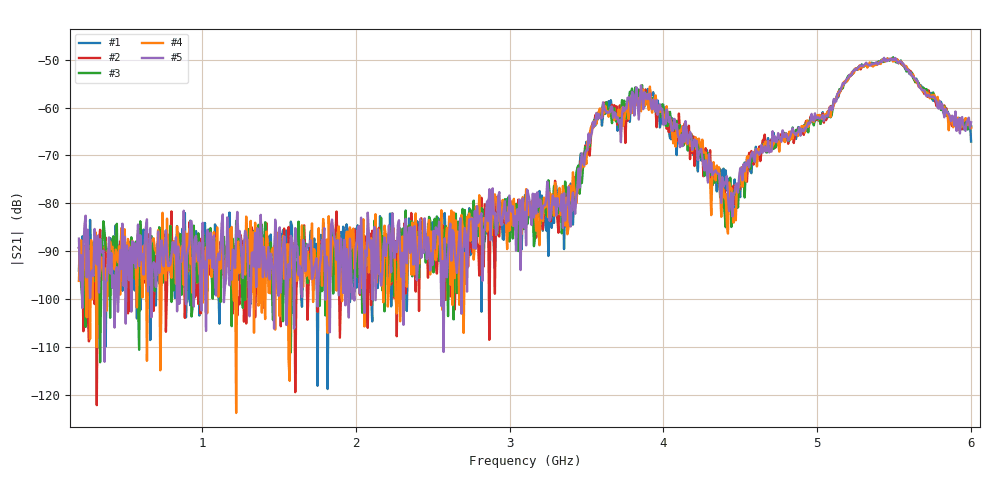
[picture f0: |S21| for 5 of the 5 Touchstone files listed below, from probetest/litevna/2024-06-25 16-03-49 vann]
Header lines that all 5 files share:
! NanoVNA-App
! Start: 200MHz Stop: 6GHz Points: 801
! S-Parameter data: F S11 S21 S12 S22
# Hz S RI R 50
!  Frequency  S11_Real  S11_Imag  S21_Real  S21_Imag  S12_Real  S12_Imag  S22_Real  S22_Imag
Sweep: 200 MHz to 6 GHz
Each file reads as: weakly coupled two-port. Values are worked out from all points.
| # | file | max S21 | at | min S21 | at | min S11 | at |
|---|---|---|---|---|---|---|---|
| 1 | 0.s2p | -49.74 dB | 5.507 GHz | -118.8 dB | 1.817 GHz | -5.3 dB | 2.948 GHz |
| 2 | 2.s2p | -49.64 dB | 5.492 GHz | -122.2 dB | 316 MHz | -5.3 dB | 2.948 GHz |
| 3 | 3.s2p | -49.47 dB | 5.492 GHz | -113.2 dB | 337.8 MHz | -5.3 dB | 2.948 GHz |
| 4 | 4.s2p | -49.70 dB | 5.456 GHz | -123.8 dB | 1.222 GHz | -5.3 dB | 2.948 GHz |
| 5 | 8.s2p | -49.57 dB | 5.434 GHz | -113.1 dB | 366.8 MHz | -5.3 dB | 2.948 GHz |
